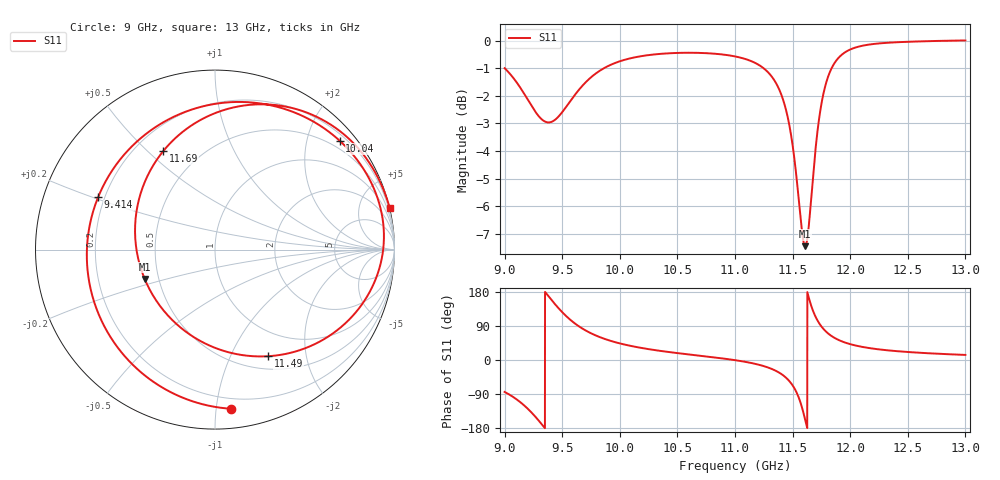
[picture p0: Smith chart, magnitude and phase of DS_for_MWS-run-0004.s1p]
! TOUCHSTONE file generated by CST DESIGN STUDIO
! Date and time: Tue Feb  4 16:26:38 2025
! Project name: C:\Work\MatlabApps\UnitCellOptimizationMatlab\CST\unitcell.cst
! Tree item: Tasks\Sweep1\SPara1\S-Parameters
! Header version: 2024
! Port assignment regex: !\s*Touchstone port\s*([0-9]+)\s*=\s*(CST MWS port|CST DES external port|CST DES block port)\s*(.+)\s* \(\"(.*)\"\)(\s*mode\s*([0-9]+))?.*
! Touchstone port assignment:
! Touchstone port 1 = CST DES external port 1 ("")
# GHz S MA R 50
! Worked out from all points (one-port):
!   4001 points, 9 GHz to 13 GHz, reference 50 ohm
!   lowest |S11| = -7.4 dB at 11.61 GHz (marker M1), VSWR 2.48, Z = 20.9 - j8.32 ohm
!   |S11| at or under -10 dB: nowhere
!   S11 on the Smith chart (normalised r, x): 9 GHz: 0.13, -1.10; 9.414 GHz: 0.17, +0.21; 10.04 GHz: 0.32, +2.63; 11.49 GHz: 0.66, -1.40; 11.69 GHz: 0.31, +0.56; 13 GHz: -0.02, +8.51
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9  0.8912 -84.3
9.103  0.841 -103.6
9.193  0.7867 -126.3
9.311  0.724 -165.3
9.414  0.7137 155.9
9.5  0.7421 126.3
9.584  0.7842 102.6
9.679  0.83 82.2
9.828  0.8824 60.2
10  0.9173 43.8
10.036  0.9222 41.1
10.5  0.9498 18.2
11  0.9361 -0.4
11.323  0.8584 -24.1
11.417  0.7821 -40.2
11.492  0.6639 -63.5
11.5  0.6468 -67.0
11.557  0.5063 -102.1
11.609  0.4246 -157.4
11.649  0.4827 155.5
11.694  0.6206 117.6
11.738  0.7413 93.6
11.789  0.8355 75.3
11.881  0.9212 55.6
12  0.9634 41.8
12.192  0.9852 30.3
12.5  0.9949 21.1
13  1 13.4
